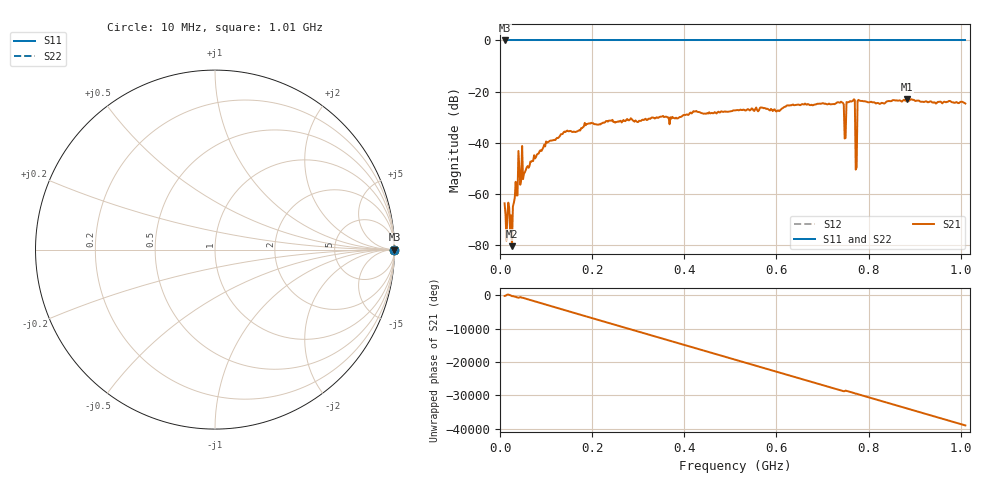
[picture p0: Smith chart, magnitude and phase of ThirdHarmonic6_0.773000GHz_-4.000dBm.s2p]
! 8/16/2025 1:48:36 AM
! C:\ANRITSUVNA\TEMP\TEMP.S2P
! CHANNEL.1
! TR.MEASUREMENT
! RAW.DATA
! RF.CORRECTION.OFF
! AVERAGING.OFF
! IF.BANDWIDTH: 5KHZ
! SWEEPTYPE:  FREQ.SWEEP(Linear)
! Reference Plane Port Info
! PORT:  PORT1  PORT2
! DISTANCE:  0  m  0  m
! TIME:  0  s  0  s
! PHASE.OFFSET:  0  deg.  0  deg.
! LOSS:  0  dB  0  dB
! REF.LOSS:  0  dB  0  dB
! REF.FREQ:  0  Hz  0  Hz
! Power Info
! POWER:  -20  dBm  -20  dBm
! EFF.POWER:  -20  dBm  -20  dBm
! SOURCE.ATTEN:  0  dB  0  dB
! TEST.ATTEN:  0  dB  0  dB
# GHZ S RI R 50.0
! FREQ.GHZ  S11RE  S11IM  S21RE  S21IM  S12RE  S12IM  S22RE  S22IM
!; PortSelection: Port_12
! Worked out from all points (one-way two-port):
!   501 points, 10 MHz to 1.01 GHz, reference 50 ohm
!   highest |S21| = -22.94 dB at 884 MHz (marker M1); lowest = -80.5 dB at 26 MHz (marker M2)
!   lowest |S11| = 0.0 dB at 10 MHz (marker M3)
!   |S11| at or under -10 dB: nowhere
!   |S22| runs from 0.0 to 0.0 dB; largest |S21 - S12| = 1.1
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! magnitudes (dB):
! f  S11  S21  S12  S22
! 10 MHz  0.0  -63.7  0.0  0.0
! 26 MHz  0.0  -80.5  0.0  0.0
! 36 MHz  0.0  -60.7  0.0  0.0
! 42 MHz  0.0  -50.2  0.0  0.0
! 44 MHz  0.0  -56.5  0.0  0.0
! 54 MHz  0.0  -51.6  0.0  0.0
! 104 MHz  0.0  -39.9  0.0  0.0
! 178 MHz  0.0  -34.3  0.0  0.0
! 344 MHz  0.0  -30.3  0.0  0.0
! 510 MHz  0.0  -27.4  0.0  0.0
! 678 MHz  0.0  -25.4  0.0  0.0
! 740 MHz  0.0  -24.0  0.0  0.0
! 748 MHz  0.0  -38.4  0.0  0.0
! 752 MHz  0.0  -24.1  0.0  0.0
! 756 MHz  0.0  -24.2  0.0  0.0
! 766 MHz  0.0  -23.6  0.0  0.0
! 770 MHz  0.0  -23.3  0.0  0.0
! 776 MHz  0.0  -23.7  0.0  0.0
! 780 MHz  0.0  -23.5  0.0  0.0
! 844 MHz  0.0  -23.7  0.0  0.0
! 884 MHz  0.0  -22.9  0.0  0.0
! 1.01 GHz  0.0  -24.7  0.0  0.0
